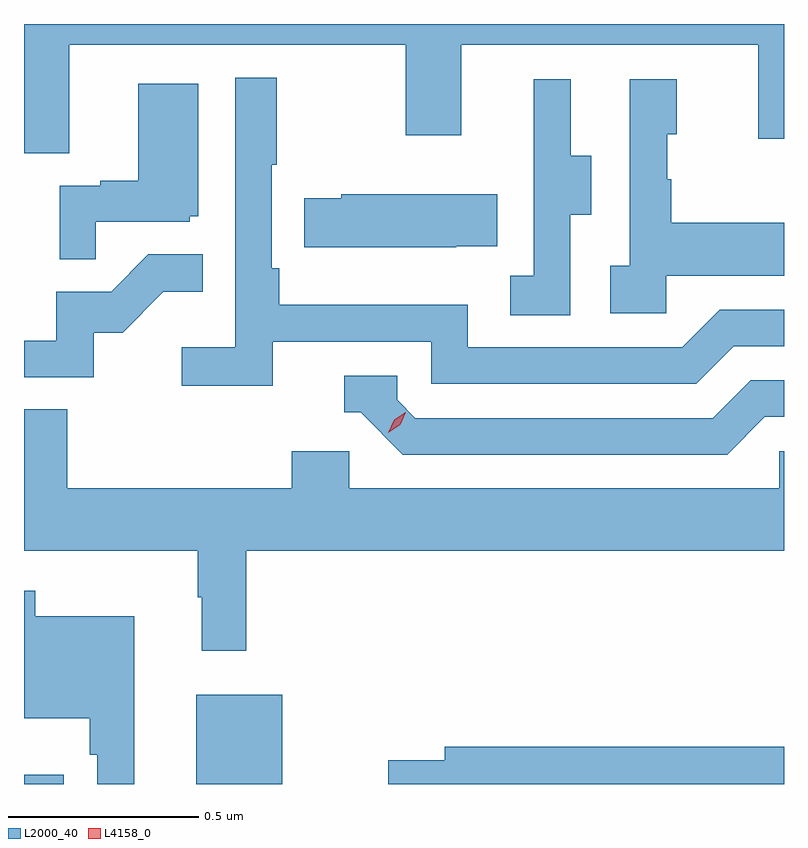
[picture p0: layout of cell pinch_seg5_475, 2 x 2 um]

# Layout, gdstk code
import gdstk
lib = gdstk.Library(unit=1e-6, precision=1e-09)
def R(c, l, rs):  # rectangles x0, y0, x1, y1
    for r in rs: c.add(gdstk.rectangle(r[:2], r[2:], *l))
def P(c, l, *ps):  # polygons
    for p in ps: c.add(gdstk.Polygon(p, *l))
L2000_40 = (2000, 40)
L4158_0 = (4158, 0)

pinch_seg5_475 = lib.new_cell('pinch_seg5_475')
R(pinch_seg5_475, L2000_40, [(900.974,860.142,901.078,860.167), (901.427,860.142,901.654,860.377)])
P(pinch_seg5_475, L2000_40, [(901.093,862.088),(901.978,862.088),(901.978,861.849),(902.125,861.849),(902.125,862.088),(902.906,862.088),(902.906,861.84),(902.974,861.84),(902.974,862.142),(900.974,862.142),(900.974,861.802),(901.093,861.802)],
  [(901.628,861.306),(902.046,861.306),(902.046,861.195),(902.743,861.195),(902.842,861.294),(902.974,861.294),(902.974,861.39),(902.805,861.39),(902.706,861.291),(902.142,861.291),(902.142,861.403),(901.646,861.403),(901.646,861.499),(901.626,861.499),(901.626,861.772),(901.639,861.772),(901.639,862),(901.53,862),(901.53,861.292),(901.389,861.292),(901.389,861.19),(901.628,861.19)],
  [(902.412,861.64),(902.467,861.64),(902.467,861.795),(902.413,861.795),(902.413,861.997),(902.315,861.997),(902.315,861.783),(902.316,861.783),(902.316,861.479),(902.253,861.479),(902.253,861.376),(902.412,861.376)],
  [(902.664,861.479),(902.974,861.479),(902.974,861.619),(902.677,861.619),(902.677,861.734),(902.667,861.734),(902.667,861.852),(902.692,861.852),(902.692,861.997),(902.568,861.997),(902.568,861.506),(902.517,861.506),(902.517,861.381),(902.664,861.381)],
  [(901.163,861.621),(901.41,861.621),(901.41,861.636),(901.432,861.636),(901.432,861.985),(901.274,861.985),(901.274,861.73),(901.175,861.73),(901.175,861.717),(901.068,861.717),(901.068,861.523),(901.163,861.523)],
  [(902.111,861.557),(902.219,861.557),(902.219,861.694),(901.809,861.694),(901.809,861.684),(901.711,861.684),(901.711,861.554),(902.111,861.554)],
  [(901.158,861.33),(901.234,861.33),(901.341,861.437),(901.445,861.437),(901.445,861.536),(901.301,861.536),(901.203,861.438),(901.059,861.438),(901.059,861.309),(900.974,861.309),(900.974,861.213),(901.158,861.213)],
  [(902.923,861.108),(902.974,861.108),(902.974,861.204),(902.886,861.204),(902.787,861.105),(902.004,861.105),(901.956,861.153),(901.956,861.216),(901.817,861.216),(901.817,861.12),(901.86,861.12),(901.971,861.009),(902.824,861.009)],
  [(901.559,860.756),(902.974,860.756),(902.974,861.018),(902.961,861.018),(902.961,860.92),(901.83,860.92),(901.83,861.018),(901.679,861.018),(901.679,860.92),(901.088,860.92),(901.088,861.128),(900.974,861.128),(900.974,860.756),(901.431,860.756),(901.431,860.633),(901.442,860.633),(901.442,860.493),(901.559,860.493)],
  [(901.264,860.584),(901.003,860.584),(901.003,860.65),(900.974,860.65),(900.974,860.315),(901.147,860.315),(901.147,860.219),(901.167,860.219),(901.167,860.142),(901.264,860.142)],
  [(902.974,860.24),(902.081,860.24),(902.081,860.204),(901.932,860.204),(901.932,860.142),(902.974,860.142)])
P(pinch_seg5_475, L4158_0, [(901.933,861.067),(901.933,861.067),(901.948,861.1),(901.979,861.12),(901.979,861.12),(901.979,861.12),(901.964,861.087),(901.933,861.067)])

lib.write_gds('pinch_seg5_475.gds')
